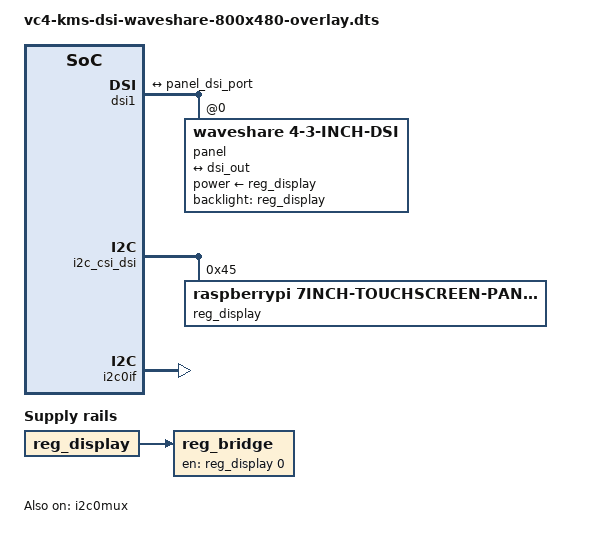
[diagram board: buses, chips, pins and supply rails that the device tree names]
/*
 * Device Tree overlay for Waveshare 4.3" 800x480 panel.
 * It tries to look like a Pi 7" panel, but fails with some of the timing
 * options.
 */

/dts-v1/;
/plugin/;

#include "edt-ft5406.dtsi"

/ {
	/* No compatible as it will have come from edt-ft5406.dtsi */

	dsi_frag: fragment@0 {
		target = <&dsi1>;
		__overlay__ {
			#address-cells = <1>;
			#size-cells = <0>;
			status = "okay";
			port {
				dsi_out: endpoint {
					remote-endpoint = <&panel_dsi_port>;
				};
			};

			panel: panel-dsi-generic@0 {
				// See panel-dsi.yaml binding
				compatible = "waveshare,4-3-inch-dsi","panel-dsi";
				reg = <0>;
				power-supply = <&reg_display>;
				backlight = <&reg_display>;
				dsi-color-format = "RGB888";
				mode = "MODE_VIDEO";
				width-mm = <0>;
				height-mm = <0>;

				port {
					panel_dsi_port: endpoint {
						data-lanes = <1>;
						remote-endpoint = <&dsi_out>;
					};
				};

				timing: panel-timing {
					clock-frequency = <27777000>;
					hactive = <800>;
					vactive = <480>;
					hfront-porch = <59>;
					hsync-len = <2>;
					hback-porch = <45>;
					vfront-porch = <7>;
					vsync-len = <2>;
					vback-porch = <22>;
				};
			};
		};
	};

	fragment@1 {
		target-path = "/";
		__overlay__ {
			reg_bridge: reg_bridge@1 {
				reg = <1>;
				compatible = "regulator-fixed";
				regulator-name = "bridge_reg";
				gpio = <&reg_display 0 0>;
				vin-supply = <&reg_display>;
				enable-active-high;
			};
		};
	};

	i2c_frag: fragment@2 {
		target = <&i2c_csi_dsi>;
		__overlay__ {
			#address-cells = <1>;
			#size-cells = <0>;
			status = "okay";

			reg_display: reg_display@45 {
				compatible = "raspberrypi,7inch-touchscreen-panel-regulator";
				reg = <0x45>;
				gpio-controller;
				#gpio-cells = <2>;
			};
		};
	};

	fragment@3 {
		target = <&i2c0if>;
		__overlay__ {
			status = "okay";
		};
	};

	fragment@4 {
		target = <&i2c0mux>;
		__overlay__ {
			status = "okay";
		};
	};
	fragment@5 {
		target = <&ft5406>;
		__overlay__ {
			vcc-supply = <&reg_display>;
			reset-gpio = <&reg_display 1 1>;
		};
	};

	__overrides__ {
		dsi0 = <&dsi_frag>, "target:0=",<&dsi0>,
		       <&i2c_frag>, "target:0=",<&i2c_csi_dsi0>,
		       <&ts_i2c_frag>, "target:0=",<&i2c_csi_dsi0>,
		       <&reg_bridge>, "reg:0=0",
		       <&reg_bridge>, "regulator-name=bridge_reg_0";
		disable_touch = <&ft5406>, "status=disabled";
	};
};
